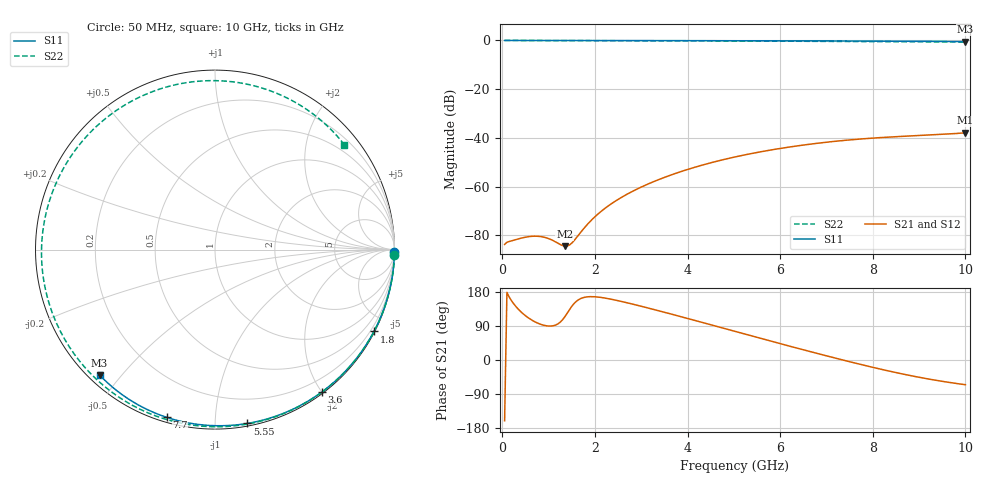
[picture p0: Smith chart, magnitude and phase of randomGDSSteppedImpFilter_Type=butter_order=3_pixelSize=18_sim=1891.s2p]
! freq	dB(S11)	phase(S11)	dB(S12)	phase(S12)
!  dB(S21)	phase(S21)	dB(S22)	phase(S22)
!S-par simulation data
#  GHz  S  DB  R 50
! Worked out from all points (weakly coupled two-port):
!   200 points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, 50 MHz to 10 GHz, reference 50 ohm
!   highest |S21| = -37.93 dB at 10 GHz (marker M1); lowest = -84.5 dB at 1.35 GHz (marker M2)
!   lowest |S11| = -0.4 dB at 10 GHz (marker M3), VSWR 38.73, Z = 1.54 - j21.9 ohm
!   |S11| at or under -10 dB: nowhere
!   |S22| runs from -0.7 to 0.0 dB; largest |S21 - S12| = 0
!   S11 on the Smith chart (normalised r, x): 50 MHz: open; 1.8 GHz: 0.04, -4.13; 3.6 GHz: 0.02, -2.00; 5.55 GHz: 0.02, -1.20; 7.7 GHz: 0.02, -0.75; 10 GHz: 0.03, -0.44
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0.05  -0.00 -0.8  -83.79 -160.4  -83.79 -160.4  -0.00 -1.6
0.65  -0.01 -10.0  -80.44 104.4  -80.44 104.4  -0.02 -20.9
1.35  -0.03 -20.5  -84.50 114.0  -84.50 114.0  -0.05 -42.9
1.65  -0.03 -25.0  -79.85 159.4  -79.85 159.4  -0.07 -52.1
1.75  -0.03 -26.5  -77.47 164.7  -77.47 164.7  -0.07 -55.2
1.8  -0.03 -27.2  -76.35 166.0  -76.35 166.0  -0.07 -56.7
2.1  -0.04 -31.7  -70.74 165.6  -70.74 165.6  -0.08 -65.8
2.45  -0.05 -36.8  -65.89 157.9  -65.89 157.9  -0.10 -76.2
3.4  -0.07 -50.4  -56.99 129.2  -56.99 129.2  -0.13 -103.8
3.6  -0.07 -53.2  -55.56 122.8  -55.56 122.8  -0.14 -109.5
4.3  -0.09 -62.9  -51.30 99.7  -51.30 99.7  -0.18 -129.3
5.05  -0.11 -72.9  -47.75 74.6  -47.75 74.6  -0.22 -150.5
5.55  -0.13 -79.5  -45.84 58.0  -45.84 58.0  -0.26 -164.9
6.15  -0.15 -87.1  -43.92 38.3  -43.92 38.3  -0.30 177.3
6.7  -0.18 -93.9  -42.48 20.5  -42.48 20.5  -0.35 160.3
7.2  -0.21 -100.0  -41.40 4.7  -41.40 4.7  -0.39 144.0
7.7  -0.24 -106.0  -40.53 -10.6  -40.53 -10.6  -0.44 126.8
8.35  -0.29 -113.7  -39.69 -29.2  -39.69 -29.2  -0.50 103.2
8.75  -0.32 -118.3  -39.29 -39.6  -39.29 -39.6  -0.53 88.0
9.15  -0.36 -122.9  -38.93 -49.0  -38.93 -49.0  -0.56 72.4
9.55  -0.40 -127.5  -38.53 -57.3  -38.53 -57.3  -0.60 56.7
10  -0.45 -132.6  -37.93 -65.2  -37.93 -65.2  -0.65 39.0
